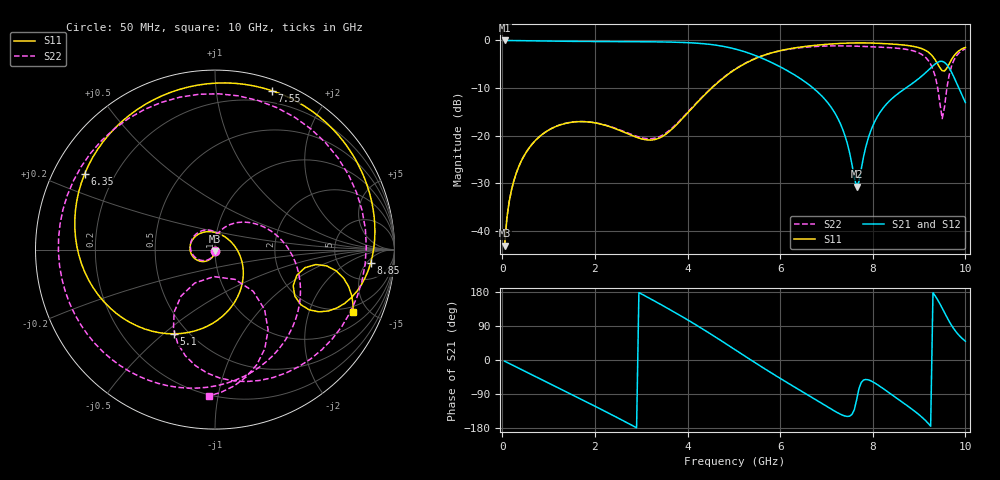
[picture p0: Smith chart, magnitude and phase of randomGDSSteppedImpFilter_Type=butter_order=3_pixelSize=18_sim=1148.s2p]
! freq	dB(S11)	phase(S11)	dB(S12)	phase(S12)
!  dB(S21)	phase(S21)	dB(S22)	phase(S22)
!S-par simulation data
#  GHz  S  DB  R 50
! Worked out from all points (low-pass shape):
!   200 points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, 50 MHz to 10 GHz, reference 50 ohm
!   highest |S21| = -0.01 dB at 50 MHz (marker M1); lowest = -30.7 dB at 7.65 GHz (marker M2)
!   |S21| within 3 dB of the highest: start of sweep to 5.419 GHz
!   lowest |S11| = -43.2 dB at 50 MHz (marker M3), VSWR 1.01, Z = 50 - j0.695 ohm
!   |S11| at or under -10 dB: start of sweep to 4.524 GHz
!   |S22| runs from -43.3 to -1.1 dB; largest |S21 - S12| = 0
!   S11 on the Smith chart (normalised r, x): 50 MHz: 1.00, -0.01; 5.1 GHz: 0.42, -0.54; 6.35 GHz: 0.09, +0.27; 7.55 GHz: 0.09, +1.41; 8.85 GHz: 10, -6; 10 GHz: 1.64, -3.99
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0.05  -43.16 -91.0  -0.01 -3.1  -0.01 -3.1  -43.28 -92.4
0.2  -31.39 -101.0  -0.02 -12.3  -0.02 -12.3  -31.42 -102.4
0.5  -23.77 -119.2  -0.06 -30.5  -0.06 -30.5  -23.77 -122.3
1.75  -17.08 168.6  -0.21 -106.5  -0.21 -106.5  -17.06 156.7
2.65  -19.39 111.0  -0.25 -162.7  -0.25 -162.7  -19.25 101.8
3.4  -20.49 35.0  -0.31 148.0  -0.31 148.0  -20.22 77.5
4.25  -12.65 -48.6  -0.61 87.6  -0.61 87.6  -12.54 40.1
5.05  -5.96 -111.9  -1.86 25.3  -1.86 25.3  -5.89 -20.9
5.1  -5.65 -115.8  -1.99 21.3  -1.99 21.3  -5.59 -25.0
5.8  -2.66 -170.1  -4.57 -33.4  -4.57 -33.4  -2.66 -81.2
6.35  -1.52 149.9  -7.49 -74.3  -7.49 -74.3  -1.63 -125.2
6.7  -1.08 125.8  -9.91 -99.9  -9.91 -99.9  -1.31 -155.2
7.15  -0.71 96.0  -14.77 -133.0  -14.77 -133.0  -1.14 159.8
7.55  -0.53 70.4  -26.04 -143.8  -26.04 -143.8  -1.18 109.9
7.65  -0.52 64.1  -30.73 -105.9  -30.73 -105.9  -1.21 95.9
8.05  -0.58 39.9  -16.93 -61.1  -16.93 -61.1  -1.36 36.6
8.35  -0.72 22.8  -12.83 -86.2  -12.83 -86.2  -1.51 -5.7
8.85  -1.20 -4.9  -9.08 -130.0  -9.08 -130.0  -2.13 -65.6
9.25  -2.88 -28.5  -5.80 -174.6  -5.80 -174.6  -5.00 -111.7
9.5  -6.38 -24.8  -4.39 136.8  -4.39 136.8  -16.45 -92.0
9.7  -4.02 -8.3  -6.67 91.5  -6.67 91.5  -5.42 -56.5
10  -1.47 -24.3  -13.07 49.5  -13.07 49.5  -1.77 -92.2
